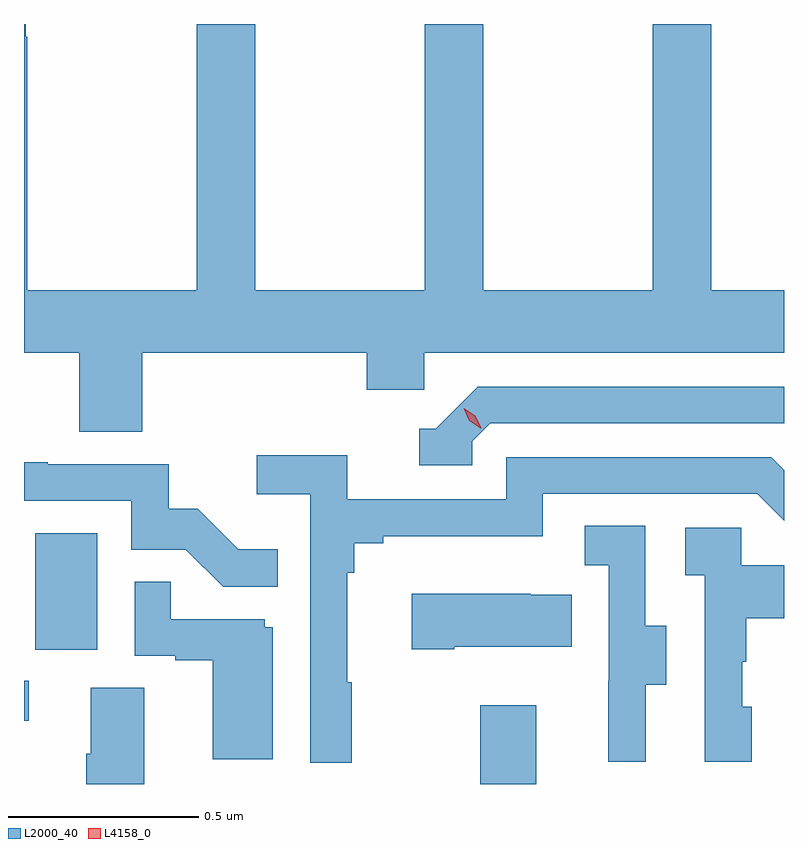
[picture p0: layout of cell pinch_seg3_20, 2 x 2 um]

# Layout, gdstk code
import gdstk
lib = gdstk.Library(unit=1e-6, precision=1e-09)
def R(c, l, rs):  # rectangles x0, y0, x1, y1
    for r in rs: c.add(gdstk.rectangle(r[:2], r[2:], *l))
def P(c, l, *ps):  # polygons
    for p in ps: c.add(gdstk.Polygon(p, *l))
L2000_40 = (2000, 40)
L4158_0 = (4158, 0)

pinch_seg3_20 = lib.new_cell('pinch_seg3_20')
R(pinch_seg3_20, L2000_40, [(1118.872,739.741,1119.019,739.948), (1117.671,739.908,1117.684,740.013), (1117.7,740.094,1117.864,740.401)])
P(pinch_seg3_20, L2000_40, [(1118.573,740.778),(1118.724,740.778),(1118.724,740.876),(1119.671,740.876),(1119.671,741.04),(1119.48,741.04),(1119.48,741.741),(1119.325,741.741),(1119.325,741.04),(1118.88,741.04),(1118.88,741.741),(1118.725,741.741),(1118.725,741.04),(1118.28,741.04),(1118.28,741.741),(1118.125,741.741),(1118.125,741.04),(1117.68,741.04),(1117.68,741.707),(1117.675,741.707),(1117.675,741.741),(1117.671,741.741),(1117.671,740.876),(1117.817,740.876),(1117.817,740.668),(1117.982,740.668),(1117.982,740.876),(1118.573,740.876)],
  [(1118.85,740.643),(1118.898,740.691),(1119.671,740.691),(1119.671,740.787),(1118.865,740.787),(1118.754,740.676),(1118.711,740.676),(1118.711,740.58),(1118.85,740.58)],
  [(1118.533,740.009),(1118.521,740.009),(1118.521,740.297),(1118.54,740.297),(1118.54,740.374),(1118.617,740.374),(1118.617,740.393),(1119.036,740.393),(1119.036,740.505),(1119.6,740.505),(1119.671,740.434),(1119.671,740.567),(1119.637,740.601),(1118.94,740.601),(1118.94,740.49),(1118.522,740.49),(1118.522,740.606),(1118.283,740.606),(1118.283,740.504),(1118.424,740.504),(1118.424,739.797),(1118.533,739.797)],
  [(1118.339,740.359),(1118.235,740.359),(1118.128,740.466),(1118.052,740.466),(1118.052,740.583),(1117.733,740.583),(1117.733,740.588),(1117.671,740.588),(1117.671,740.487),(1117.953,740.487),(1117.953,740.358),(1118.097,740.358),(1118.195,740.26),(1118.339,740.26)],
  [(1119.307,740.002),(1119.361,740.002),(1119.361,740.157),(1119.306,740.157),(1119.306,740.42),(1119.147,740.42),(1119.147,740.317),(1119.21,740.317),(1119.21,740.013),(1119.209,740.013),(1119.209,739.8),(1119.307,739.8)],
  [(1119.586,739.944),(1119.561,739.944),(1119.561,740.063),(1119.571,740.063),(1119.571,740.177),(1119.671,740.177),(1119.671,740.317),(1119.558,740.317),(1119.558,740.415),(1119.411,740.415),(1119.411,740.291),(1119.462,740.291),(1119.462,739.8),(1119.586,739.8)],
  [(1118.326,740.154),(1118.304,740.154),(1118.304,740.175),(1118.057,740.175),(1118.057,740.273),(1117.962,740.273),(1117.962,740.079),(1118.069,740.079),(1118.069,740.067),(1118.168,740.067),(1118.168,739.806),(1118.326,739.806)],
  [(1118.803,740.102),(1119.113,740.102),(1119.113,740.239),(1119.005,740.239),(1119.005,740.242),(1118.691,740.242),(1118.691,740.095),(1118.803,740.095)],
  [(1117.987,739.994),(1117.847,739.994),(1117.847,739.82),(1117.835,739.82),(1117.835,739.741),(1117.987,739.741)])
P(pinch_seg3_20, L4158_0, [(1118.873,740.677),(1118.843,740.697),(1118.828,740.73),(1118.828,740.73),(1118.828,740.73),(1118.858,740.71),(1118.874,740.677),(1118.874,740.677)])

lib.write_gds('pinch_seg3_20.gds')
